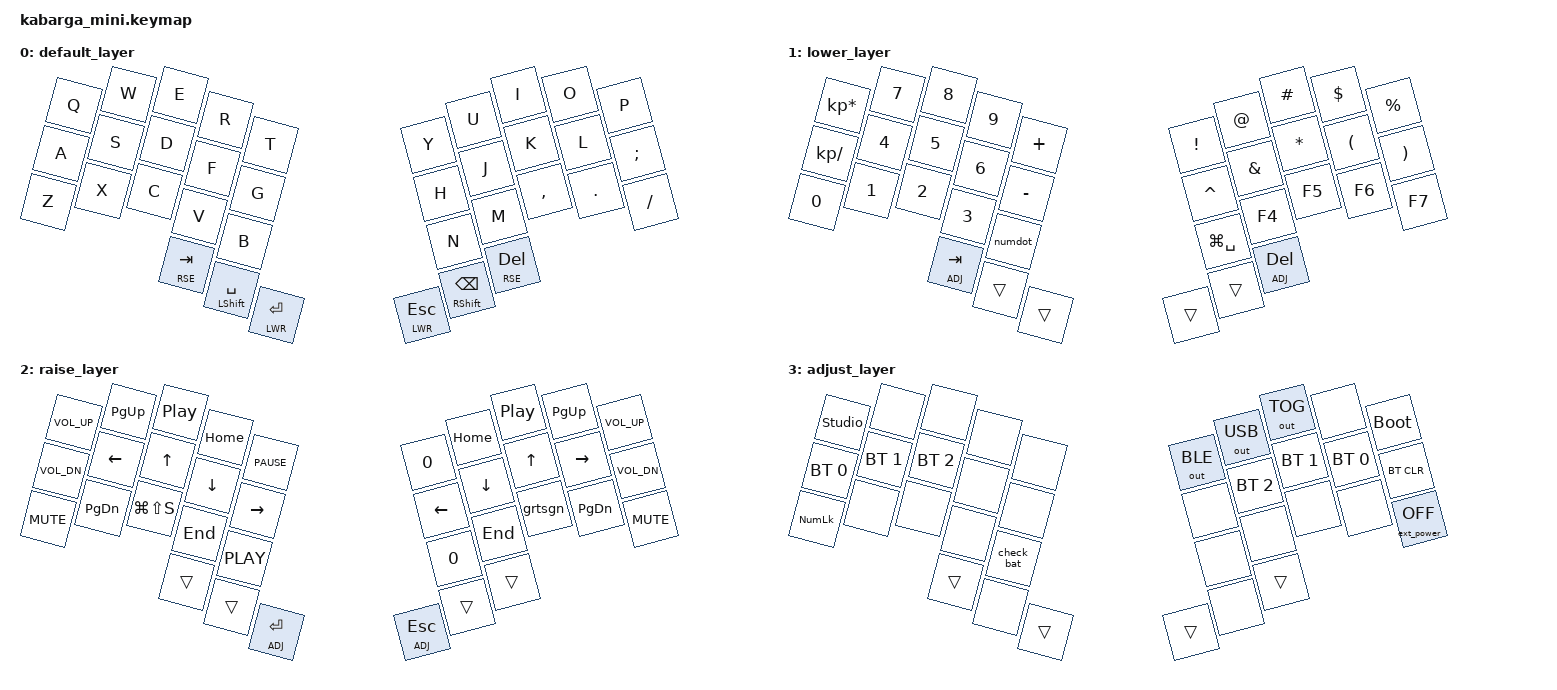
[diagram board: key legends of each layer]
/*
 * Copyright (c) 2020 The ZMK Contributors
 *
 * SPDX-License-Identifier: MIT
 */

#include <behaviors.dtsi>
#include <dt-bindings/zmk/keys.h>
#include <dt-bindings/zmk/bt.h>
#include <dt-bindings/zmk/outputs.h>
#include <dt-bindings/zmk/ext_power.h>
#include <dt-bindings/zmk/rgb.h>

#define DEF 0
#define LWR 1
#define RSE 2
#define ADJ 3

/*
* &lt { quick_tap_ms = <220>; };
* &mt { quick_tap_ms = <220>; };
 */

&lt {
    quick_tap_ms = <220>;
    require-prior-idle-ms = <150>;
    flavor = "balanced";
    tapping-term-ms = <280>;
};

&mt {
    quick_tap_ms = <220>;
    tapping-term-ms = <280>;
    require-prior-idle-ms = <150>;
    flavor = "balanced";
};

/ {
    macros {
        numdot: numdot {
            label = "ZM_numdot";
            compatible = "zmk,behavior-macro";
            #binding-cells = <0>;
            wait-ms = <40>;
            tap-ms = <40>;
            bindings
                = <&macro_press   &kp LALT>    
                , <&macro_tap     &kp KP_N4 &kp KP_N6>    
                , <&macro_release &kp LALT>
                ;
        };
        grtsgn: grtsgn {
            label = "ZM_grtsgn";
            compatible = "zmk,behavior-macro";
            #binding-cells = <0>;
            wait-ms = <40>;
            tap-ms = <40>;
            bindings
                = <&macro_press   &kp LALT>    
                , <&macro_tap     &kp KP_N6 &kp KP_N2>    
                , <&macro_release &kp LALT>
                ;
        };
    };
};
/ {
        keymap {
                compatible = "zmk,keymap";

                default_layer {
// ------------------------------------------------------------------------------------------------
//|  Q  |  W  |  E  |  R  |  T  |   |  Y  |  U   |  I  |  O  |  P  | 
//|  A  |  S  |  D  |  F  |  G  |   |  H  |  J   |  K  |  L  |  ;  |
//|  Z  |  X  |  C  |  V  |  B  |   |  N  |  M   |  ,  |  .  |  /  |
//            | RSE | SPC | LWR |   | LWR | BKSP | RSE |
                        bindings = <
 &kp Q &kp W &kp E &kp R &kp T                          &kp Y  &kp U  &kp I     &kp O   &kp P    
 &kp A &kp S &kp D &kp F &kp G                          &kp H  &kp J  &kp K     &kp L   &kp SEMI 
 &kp Z &kp X &kp C &kp V &kp B                          &kp N  &kp M  &kp COMMA &kp DOT &kp FSLH 
       &lt RSE TAB &mt LSHFT SPACE &lt LWR RET        &lt LWR ESC &mt RSHFT BSPC &lt RSE DEL
                        >;
                };
                lower_layer {
// -----------------------------------------------------------------------------------------
//|  *  |  7 |  8  |  9  |  +  |    |  !  |  @  |  #  |  $  |  %  |
//|  /  |  4 |  5  |  6  |  -  |    |  ^  |  &  |  *  |  (  |  )  |
//|  0  |  1 |  4  |  3  |  .  |    |  ls |  F4 |  F5 |  F6 |  F7 |
//                 | ADJ | ___ | ___ |    | ___ | ___ | ADJ |
                        bindings = <
 &kp KP_MULTIPLY  &kp N7 &kp N8   &kp N9      &kp PLUS                    &kp EXCL      &kp AT    &kp HASH   &kp DLLR  &kp PRCNT 
 &kp KP_SLASH     &kp N4 &kp N5   &kp N6      &kp MINUS                   &kp CARET     &kp AMPS  &kp STAR   &kp LPAR  &kp RPAR  
 &kp N0           &kp N1 &kp N2   &kp N3      &numdot                     &kp LG(SPACE) &kp F4    &kp F5     &kp F6    &kp F7    
                  &lt ADJ TAB     &trans      &trans                      &trans        &trans    &lt ADJ DEL
                        >;
                };
                raise_layer {
// -----------------------------------------------------------------------------------------
//| VOLU  |  PGUP  | PLAY | HOME | ___  |            | ___  | HOME | PLAY| PGUP | VOLU |
//| VOLD  |  LEFT  |  UP  | DOWN | RGHT |            | RGHT | DOWN | UP  | LEFT | VOLD | 
//| MUTE  |  PGDN  |  ___ | END  | ___  |            | ___  | END  | ___ | PGDN | MUTE |
//                  | ___ | ___  | ADJ  |            | ADJ  | ___  | ___ |
                        bindings = <
&kp C_VOL_UP   &kp PG_UP  &kp C_PP       &kp HOME &kp C_PAUSE                                 &kp N0    &kp HOME  &kp C_PP    &kp PG_UP  &kp C_VOL_UP  
&kp C_VOL_DN   &kp LEFT   &kp UP         &kp DOWN &kp RIGHT                                   &kp LEFT  &kp DOWN  &kp UP      &kp RIGHT  &kp C_VOL_DN   
&kp C_MUTE     &kp PG_DN  &kp LG(LS(S))  &kp END  &kp C_PLAY                                  &kp N0    &kp END   &grtsgn      &kp PG_DN  &kp C_MUTE    
                          &trans         &trans   &lt ADJ RET                                 &lt ADJ ESC &trans  &trans
                        >; 
                };
                                adjust_layer {
// -----------------------------------------------------------------------------------------
//|     |     |     |     |     |   |     |     |     |     |     |
//| BT0 | BT1 | BT2 | BT3 | BT4 |   | BT4 | BT3 | BT2 | BT1 | BT0 |
//|NUMLK|     |     |     |     |   |     |     |     |     |     |
//            |     |     |     |   |     |     |     |
                        bindings = <
&studio_unlock         &none        &none        &none        &none                     &out OUT_BLE &out OUT_USB &out OUT_TOG &none         &bootloader
&bt BT_SEL 0  &bt BT_SEL 1 &bt BT_SEL 2 &none        &none                     &none &bt BT_SEL 2 &bt BT_SEL 1 &bt BT_SEL 0  &bt BT_CLR
&kp KP_NUM    &none        &none        &none        &check_bat                &none        &none        &none        &none         &ext_power EP_OFF 
                           &trans       &none        &trans                    &trans       &none        &trans
                        >;
                };
        };
};
